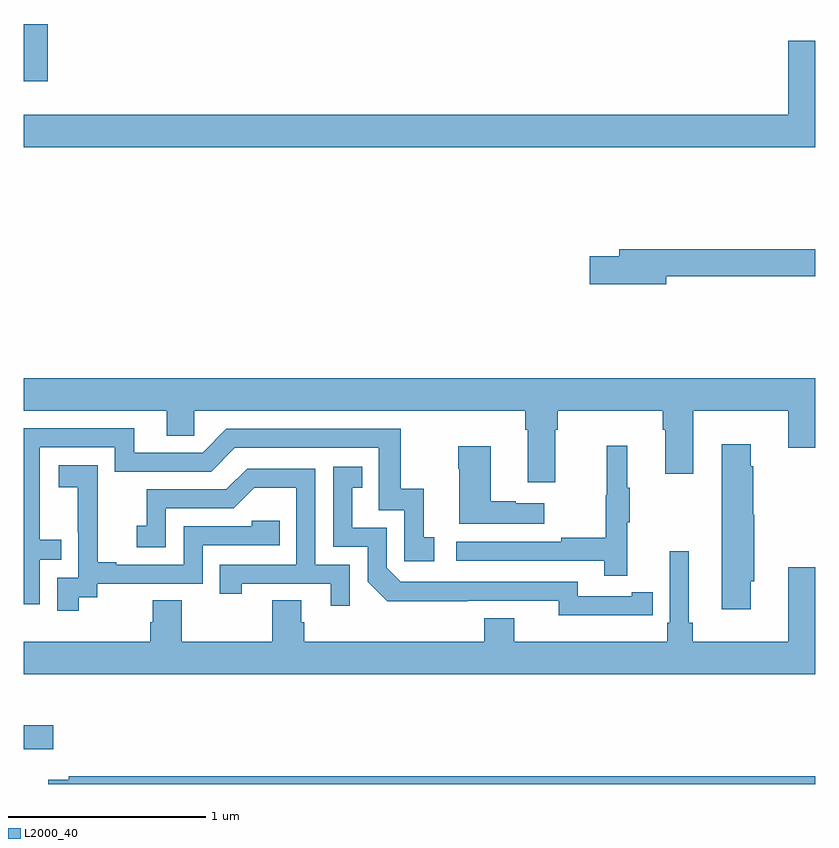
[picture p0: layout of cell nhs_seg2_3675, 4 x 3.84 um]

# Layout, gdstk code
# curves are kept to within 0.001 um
import gdstk
lib = gdstk.Library(unit=1e-6, precision=1e-09)
def R(c, l, rs):  # rectangles x0, y0, x1, y1
    for r in rs: c.add(gdstk.rectangle(r[:2], r[2:], *l))
def P(c, l, *ps):  # polygons
    for p in ps: c.add(gdstk.Polygon(p, *l))
L2000_40 = (2000, 40)

nhs_seg2_3675 = lib.new_cell('nhs_seg2_3675')
R(nhs_seg2_3675, L2000_40, [(305,593.975,305.149,594.097), (305,597.354,305.12,597.643)])
P(nhs_seg2_3675, L2000_40, [(309,597.559),(308.864,597.559),(308.864,597.184),(305,597.184),(305,597.02),(309,597.02)],
  [(308.248,596.368),(309,596.368),(309,596.504),(308.009,596.504),(308.009,596.468),(307.86,596.468),(307.86,596.326),(308.248,596.326)],
  [(307.687,595.592),(307.7,595.592),(307.7,595.688),(308.231,595.688),(308.231,595.592),(308.243,595.592),(308.243,595.368),(308.383,595.368),(308.383,595.688),(308.864,595.688),(308.864,595.5),(309,595.5),(309,595.852),(305,595.852),(305,595.688),(305.723,595.688),(305.723,595.561),(305.862,595.561),(305.862,595.688),(307.535,595.688),(307.535,595.592),(307.547,595.592),(307.547,595.326),(307.687,595.326)],
  [(305.079,594.933),(305.189,594.933),(305.189,595.034),(305.079,595.034),(305.079,595.503),(305.46,595.503),(305.46,595.38),(305.946,595.38),(306.066,595.5),(306.795,595.5),(306.795,595.185),(306.924,595.185),(306.924,594.927),(307.075,594.927),(307.075,595.047),(307.022,595.047),(307.022,595.294),(306.904,595.294),(306.904,595.596),(306.024,595.596),(305.904,595.476),(305.557,595.476),(305.557,595.599),(305,595.599),(305,594.708),(305.079,594.708)],
  [(308.674,594.825),(308.692,594.825),(308.692,595.161),(308.687,595.161),(308.687,595.406),(308.674,595.406),(308.674,595.519),(308.528,595.519),(308.528,594.684),(308.674,594.684)],
  [(308.051,595.123),(308.062,595.123),(308.062,595.297),(308.051,595.297),(308.051,595.51),(307.948,595.51),(307.948,595.26),(307.941,595.26),(307.941,595.046),(307.717,595.046),(307.717,595.026),(307.185,595.026),(307.185,594.93),(307.933,594.93),(307.933,594.852),(308.051,594.852)],
  [(307.63,595.219),(307.487,595.219),(307.487,595.229),(307.36,595.229),(307.36,595.507),(307.195,595.507),(307.195,595.394),(307.202,595.394),(307.202,595.115),(307.63,595.115)],
  [(305.278,594.745),(305.37,594.745),(305.37,594.813),(305.904,594.813),(305.904,595.008),(306.293,595.008),(306.293,595.131),(306.153,595.131),(306.153,595.104),(305.808,595.104),(305.808,594.909),(305.467,594.909),(305.467,594.922),(305.372,594.922),(305.372,595.205),(305.373,595.205),(305.373,595.411),(305.175,595.411),(305.175,595.301),(305.273,595.301),(305.273,595.073),(305.274,595.073),(305.274,594.843),(305.169,594.843),(305.169,594.675),(305.278,594.675)],
  [(308.072,594.654),(308.18,594.654),(308.18,594.77),(308.072,594.77),(308.072,594.75),(307.8,594.75),(307.8,594.822),(306.906,594.822),(306.834,594.894),(306.834,595.095),(306.661,595.095),(306.661,595.299),(306.71,595.299),(306.71,595.405),(306.564,595.405),(306.564,594.999),(306.738,594.999),(306.738,594.822),(306.836,594.725),(307.704,594.726),(307.704,594.653)],
  [(306.648,594.909),(306.474,594.909),(306.474,595.395),(306.128,595.395),(306.023,595.29),(305.62,595.29),(305.62,595.105),(305.571,595.105),(305.571,594.996),(305.718,594.996),(305.718,595.194),(306.06,595.194),(306.164,595.298),(306.378,595.298),(306.378,594.909),(305.989,594.909),(305.989,594.762),(306.1,594.762),(306.1,594.813),(306.551,594.813),(306.551,594.702),(306.648,594.702)],
  [(309,594.895),(308.864,594.895),(308.864,594.52),(308.381,594.52),(308.381,594.616),(308.362,594.616),(308.362,594.976),(308.265,594.976),(308.265,594.616),(308.252,594.616),(308.252,594.52),(307.48,594.52),(307.48,594.637),(307.328,594.637),(307.328,594.52),(306.416,594.52),(306.416,594.618),(306.403,594.618),(306.403,594.728),(306.256,594.728),(306.256,594.52),(305.799,594.52),(305.799,594.728),(305.651,594.728),(305.651,594.618),(305.639,594.618),(305.639,594.52),(305,594.52),(305,594.356),(309,594.356)],
  [(309,593.84),(305.227,593.84),(305.227,593.821),(305.123,593.821),(305.123,593.8),(309,593.8)])

lib.write_gds('nhs_seg2_3675.gds')
